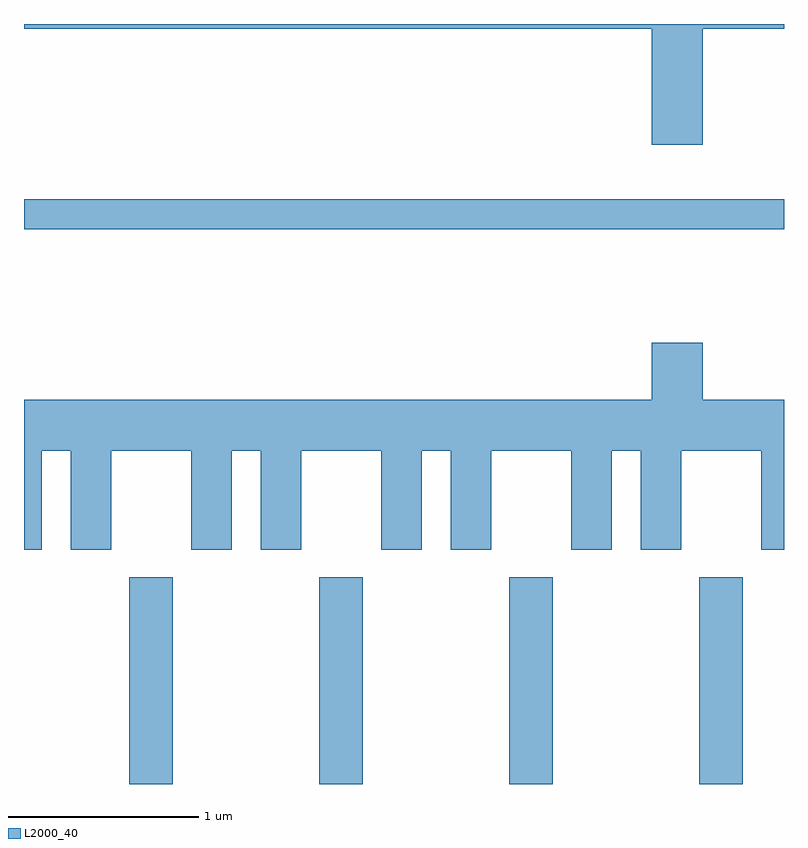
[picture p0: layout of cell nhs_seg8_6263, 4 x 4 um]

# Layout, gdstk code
import gdstk
lib = gdstk.Library(unit=1e-6, precision=1e-09)
def R(c, l, rs):  # rectangles x0, y0, x1, y1
    for r in rs: c.add(gdstk.rectangle(r[:2], r[2:], *l))
def A(c, l, x, y, w, h, nx, ny, dx, dy):  # array of equal rectangles
    R(c, l, [(x+i*dx, y+j*dy, x+i*dx+w, y+j*dy+h) for i in range(nx) for j in range(ny)])
def P(c, l, *ps):  # polygons
    for p in ps: c.add(gdstk.Polygon(p, *l))
L2000_40 = (2000, 40)

nhs_seg8_6263 = lib.new_cell('nhs_seg8_6263')
A(nhs_seg8_6263, L2000_40, 372.166, 1932.342, 0.228, 1.087, 4, 1, 1, 0)
R(nhs_seg8_6263, L2000_40, [(371.611,1935.261,375.611,1935.419)])
P(nhs_seg8_6263, L2000_40, [(375.184,1936.316),(375.611,1936.316),(375.611,1936.342),(371.611,1936.342),(371.611,1936.316),(374.916,1936.316),(374.916,1935.706),(375.184,1935.706)],
  [(371.704,1934.096),(371.856,1934.096),(371.856,1933.576),(372.069,1933.576),(372.069,1934.096),(372.491,1934.096),(372.491,1933.576),(372.704,1933.576),(372.704,1934.096),(372.856,1934.096),(372.856,1933.576),(373.069,1933.576),(373.069,1934.096),(373.491,1934.096),(373.491,1933.576),(373.704,1933.576),(373.704,1934.096),(373.856,1934.096),(373.856,1933.576),(374.069,1933.576),(374.069,1934.096),(374.491,1934.096),(374.491,1933.576),(374.704,1933.576),(374.704,1934.096),(374.856,1934.096),(374.856,1933.576),(375.069,1933.576),(375.069,1934.096),(375.491,1934.096),(375.491,1933.576),(375.611,1933.576),(375.611,1934.364),(375.184,1934.364),(375.184,1934.664),(374.916,1934.664),(374.916,1934.364),(371.611,1934.364),(371.611,1933.576),(371.704,1933.576)])

lib.write_gds('nhs_seg8_6263.gds')
